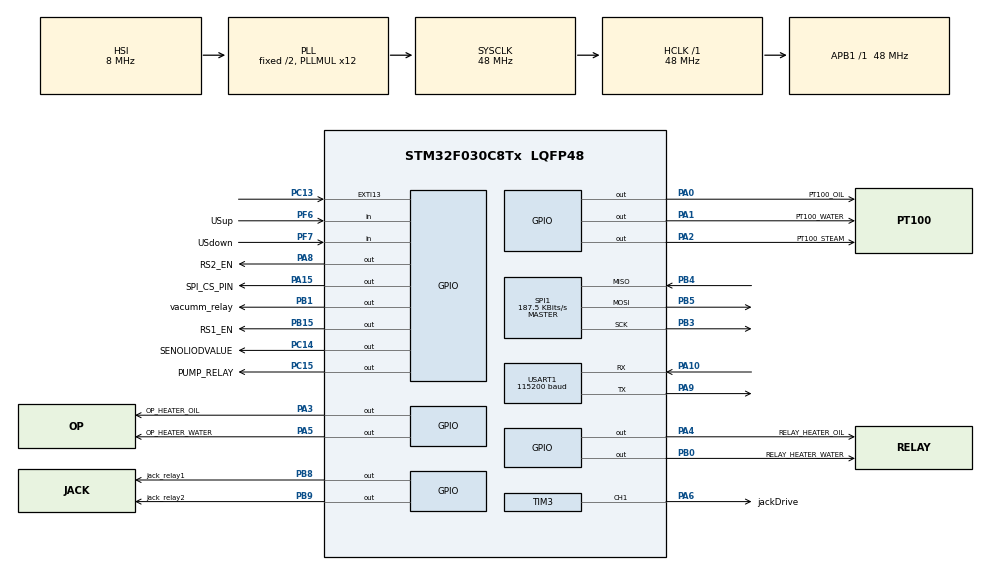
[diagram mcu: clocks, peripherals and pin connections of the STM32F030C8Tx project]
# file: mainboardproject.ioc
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Mcu.Family=STM32F0
Mcu.Name=STM32F030C8Tx
Mcu.Package=LQFP48
NVIC.EXTI4_15_IRQn=true\:0\:0\:false\:false\:true\:true\:true
NVIC.TIM14_IRQn=true\:0\:0\:false\:false\:true\:true\:true
NVIC.TIM6_IRQn=true\:0\:0\:false\:false\:true\:true\:true
NVIC.USART1_IRQn=true\:0\:0\:false\:false\:true\:true\:true
PA0.GPIO_Label=PT100_OIL
PA0.Signal=GPIO_Output
PA1.GPIO_Label=PT100_WATER
PA1.Signal=GPIO_Output
PA10.Mode=Asynchronous
PA10.Signal=USART1_RX
PA13.Mode=Serial_Wire
PA13.Signal=SYS_SWDIO
PA14.Mode=Serial_Wire
PA14.Signal=SYS_SWCLK
PA15.GPIO_Label=SPI_CS_PIN
PA15.Signal=GPIO_Output
PA2.GPIO_Label=PT100_STEAM
PA2.Signal=GPIO_Output
PA3.GPIO_Label=OP_HEATER_OIL
PA3.Signal=GPIO_Output
PA4.GPIO_Label=RELAY_HEATER_OIL
PA4.Signal=GPIO_Output
PA5.GPIO_Label=OP_HEATER_WATER
PA5.Signal=GPIO_Output
PA6.GPIO_Label=jackDrive
PA6.Signal=S_TIM3_CH1
PA8.GPIO_Label=RS2_EN
PA8.Signal=GPIO_Output
PA9.Mode=Asynchronous
PA9.Signal=USART1_TX
PB0.GPIO_Label=RELAY_HEATER_WATER
PB0.Signal=GPIO_Output
PB1.GPIO_Label=vacumm_relay
PB1.Signal=GPIO_Output
PB15.GPIO_Label=RS1_EN
PB15.Signal=GPIO_Output
PB3.Mode=Full_Duplex_Master
PB3.Signal=SPI1_SCK
PB4.Mode=Full_Duplex_Master
PB4.Signal=SPI1_MISO
PB5.Mode=Full_Duplex_Master
PB5.Signal=SPI1_MOSI
PB8.GPIO_Label=jack_relay1
PB8.Signal=GPIO_Output
PB9.GPIO_Label=jack_relay2
PB9.Signal=GPIO_Output
PC13.Signal=GPXTI13
PC14-OSC32_IN.GPIO_Label=SENOLIODVALUE
PC14-OSC32_IN.Signal=GPIO_Output
PC15-OSC32_OUT.GPIO_Label=PUMP_RELAY
PC15-OSC32_OUT.Signal=GPIO_Output
PF0-OSC_IN.Mode=HSE-External-Oscillator
PF0-OSC_IN.Signal=RCC_OSC_IN
PF1-OSC_OUT.Mode=HSE-External-Oscillator
PF1-OSC_OUT.Signal=RCC_OSC_OUT
PF6.GPIO_Label=USup
PF6.Signal=GPIO_Input
PF7.GPIO_Label=USdown
PF7.Signal=GPIO_Input
ProjectManager.HeapSize=0x200
ProjectManager.StackSize=0x400
ProjectManager.TargetToolchain=MDK-ARM V5.32
RCC.AHBFreq_Value=48000000
RCC.APB1Freq_Value=48000000
RCC.APB1TimFreq_Value=48000000
RCC.HCLKFreq_Value=48000000
RCC.HSE_VALUE=16000000
RCC.PLLMUL=RCC_PLL_MUL12
RCC.SYSCLKFreq_VALUE=48000000
RCC.SYSCLKSource=RCC_SYSCLKSOURCE_PLLCLK
SH.S_TIM3_CH1.0=TIM3_CH1,PWM Generation1 CH1
SPI1.BaudRatePrescaler=SPI_BAUDRATEPRESCALER_256
SPI1.CLKPhase=SPI_PHASE_2EDGE
SPI1.CLKPolarity=SPI_POLARITY_HIGH
SPI1.CalculateBaudRate=187.5 KBits/s
SPI1.DataSize=SPI_DATASIZE_8BIT
SPI1.Direction=SPI_DIRECTION_2LINES
SPI1.Mode=SPI_MODE_MASTER
SPI1.VirtualType=VM_MASTER
TIM14.Period=10000
TIM14.Prescaler=48-1
TIM3.Channel-PWM\ Generation1\ CH1=TIM_CHANNEL_1
TIM3.Period=999
TIM3.Prescaler=47
TIM3.Pulse-PWM\ Generation1\ CH1=0
TIM6.Period=10000
TIM6.Prescaler=48-1
USART1.BaudRate=115200
USART1.VirtualMode-Asynchronous=VM_ASYNC
VP_TIM14_VS_ClockSourceINT.Mode=Enable_Timer
VP_TIM3_VS_ClockSourceINT.Mode=Internal
VP_TIM6_VS_ClockSourceINT.Mode=Enable_Timer
board=custom

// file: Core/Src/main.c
/* USER CODE BEGIN Header */
/**
  ******************************************************************************
  * @file           : main.c
  * @brief          : Main program body
  ******************************************************************************
  * @attention
  *
  * <h2><center>&copy; Copyright (c) 2021 STMicroelectronics.
  * All rights reserved.</center></h2>
  *
  * This software component is licensed by ST under BSD 3-Clause license,
  * the "License"; You may not use this file except in compliance with the
  * License. You may obtain a copy of the License at:
  *                        opensource.org/licenses/BSD-3-Clause
  *
  ******************************************************************************
  */
/* USER CODE END Header */
#include "main.h"
#include "spi.h"
#include "tim.h"
#include "usart.h"
#include "gpio.h"
/* USER CODE BEGIN Includes */
#include "stdio.h"
#include "string.h"
#include "tempratureController.h"
#include "jack.h"
#include "AD7190.h"
#include "pump.h"
#include "Vaccum.h"
#include "serial.h"
#include "Solenoid.h"
#include "math.h"
/* USER CODE END Includes */

void SystemClock_Config(void);
/* USER CODE BEGIN PFP */
void HAL_UART_RxCpltCallback(UART_HandleTypeDef *huart);
/* USER CODE END PFP */

/* USER CODE BEGIN 0 */
system_def system;
/* USER CODE END 0 */

int main(void)
{

  /* MCU Configuration--------------------------------------------------------*/

  /* Reset of all peripherals, Initializes the Flash interface and the Systick. */
  HAL_Init();

  /* Configure the system clock */
  SystemClock_Config();

  /* Initialize all configured peripherals */
  MX_GPIO_Init();
  MX_SPI1_Init();
  MX_TIM6_Init();
  MX_USART1_UART_Init();
  MX_TIM14_Init();
  MX_TIM3_Init();
  /* USER CODE BEGIN 2 */
  sensor_init();

	//****************************//
  //Init Variables
  Pump_Relay_Init();
  Vaccum_Relay_Init();
	Jack_Init();
	Solenoid_init();
	systemTempratureControllerInit();

  //**************************************

	reader.sensor.PT100_oil.select = true; // For Enable the chnnle of reading sensors Tempratures
	reader.sensor.PT100_oil.enable_channle = false;
	//systemTempratureController.water.temprature.setpoint = 53;
	//systemTempratureController.oil.temprature.setpoint = 53;
	//************************************
	serial_init();
	system.status = device_off;
  /* USER CODE END 2 */

  /* Infinite loop */
  /* USER CODE BEGIN WHILE */
  while (1)
  {
		serial_handler();
		if(system.status == device_on) // If get the device Turn on commands do handlers
		{
			 Temprature_handler();
		   Vaccum_Handler();
		   Pump_Handler();
		   Ad7190_Handler();
	     jack_handler();
       SonolOid_Handler();
		}
    /* USER CODE END WHILE */

  }
}

void SystemClock_Config(void)
{
  RCC_OscInitTypeDef RCC_OscInitStruct = {0};
  RCC_ClkInitTypeDef RCC_ClkInitStruct = {0};
  RCC_PeriphCLKInitTypeDef PeriphClkInit = {0};

  /** Initializes the RCC Oscillators according to the specified parameters
  * in the RCC_OscInitTypeDef structure.
  */
  RCC_OscInitStruct.OscillatorType = RCC_OSCILLATORTYPE_HSI;
  RCC_OscInitStruct.HSIState = RCC_HSI_ON;
  RCC_OscInitStruct.HSICalibrationValue = RCC_HSICALIBRATION_DEFAULT;
  RCC_OscInitStruct.PLL.PLLState = RCC_PLL_ON;
  RCC_OscInitStruct.PLL.PLLSource = RCC_PLLSOURCE_HSI;
  RCC_OscInitStruct.PLL.PLLMUL = RCC_PLL_MUL12;
  RCC_OscInitStruct.PLL.PREDIV = RCC_PREDIV_DIV1;
  if (HAL_RCC_OscConfig(&RCC_OscInitStruct) != HAL_OK)
  {
    Error_Handler();
  }
  /** Initializes the CPU, AHB and APB buses clocks
  */
  RCC_ClkInitStruct.ClockType = RCC_CLOCKTYPE_HCLK|RCC_CLOCKTYPE_SYSCLK
                              |RCC_CLOCKTYPE_PCLK1;
  RCC_ClkInitStruct.SYSCLKSource = RCC_SYSCLKSOURCE_PLLCLK;
  RCC_ClkInitStruct.AHBCLKDivider = RCC_SYSCLK_DIV1;
  RCC_ClkInitStruct.APB1CLKDivider = RCC_HCLK_DIV1;

  if (HAL_RCC_ClockConfig(&RCC_ClkInitStruct, FLASH_LATENCY_1) != HAL_OK)
  {
    Error_Handler();
  }
  PeriphClkInit.PeriphClockSelection = RCC_PERIPHCLK_USART1;
  PeriphClkInit.Usart1ClockSelection = RCC_USART1CLKSOURCE_PCLK1;
  if (HAL_RCCEx_PeriphCLKConfig(&PeriphClkInit) != HAL_OK)
  {
    Error_Handler();
  }
}

void Error_Handler(void)
{
  __disable_irq();
  while (1)
  {
  }
}

/************************ (C) COPYRIGHT STMicroelectronics *****END OF FILE****/
